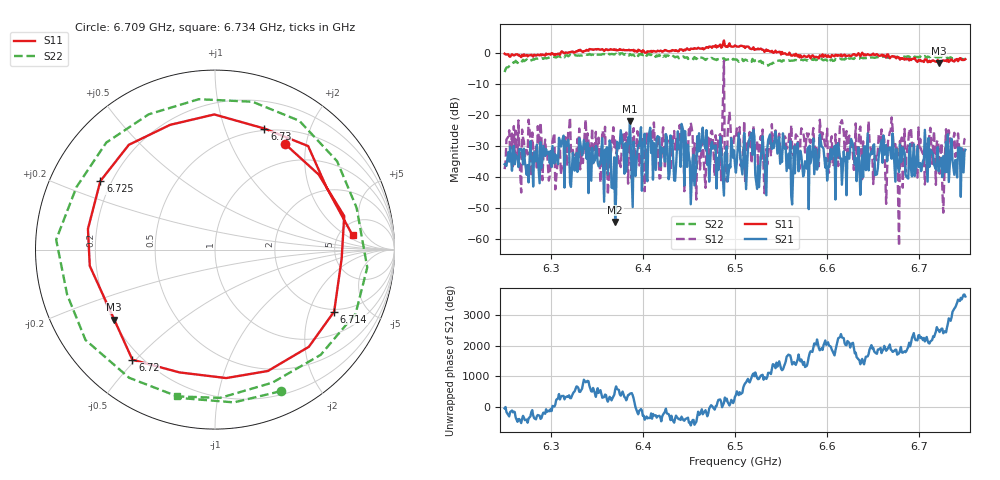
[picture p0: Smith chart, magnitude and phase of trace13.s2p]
# Hz S RI R 50
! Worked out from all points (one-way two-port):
!   401 points, 6.25 GHz to 6.75 GHz, reference 50 ohm
!   highest |S21| = -22.02 dB at 6.386 GHz (marker M1); lowest = -54.5 dB at 6.37 GHz (marker M2)
!   lowest |S11| = -3.3 dB at 6.721 GHz (marker M3), VSWR 5.32, Z = 10.3 - j15 ohm
!   |S11| at or under -10 dB: nowhere
!   |S22| runs from -6.2 to -0.1 dB; largest |S21 - S12| = 0.73
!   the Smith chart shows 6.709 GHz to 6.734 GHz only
!   S11 on the Smith chart (normalised r, x): 6.709 GHz: 0.69, +1.63; 6.714 GHz: 1.90, -2.98; 6.72 GHz: 0.16, -0.49; 6.725 GHz: 0.16, +0.27; 6.73 GHz: 0.48, +1.38; 6.734 GHz: 6.66, +2.62
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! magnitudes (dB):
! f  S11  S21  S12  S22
! 6.25 GHz  -0.3  -35.9  -37.5  -6.2
! 6.334 GHz  0.4  -33.0  -31.2  -0.9
! 6.37 GHz  0.8  -54.5  -27.5  -0.4
! 6.375 GHz  1.2  -29.4  -34.5  -0.6
! 6.386 GHz  0.8  -22.0  -29.8  -0.4
! 6.41 GHz  0.3  -28.3  -27.7  -0.9
! 6.418 GHz  0.5  -27.3  -40.5  -0.7
! 6.5 GHz  2.4  -36.3  -26.7  -2.2
! 6.534 GHz  1.1  -45.9  -31.0  -4.0
! 6.584 GHz  -0.8  -31.5  -27.0  -2.1
! 6.651 GHz  -0.7  -29.5  -34.8  -1.6
! 6.668 GHz  -1.8  -30.5  -25.6  -1.3
! 6.68 GHz  -1.7  -35.3  -34.0  -1.3
! 6.69 GHz  -2.1  -29.3  -26.3  -1.5
! 6.709 GHz  -3.0  -41.5  -29.1  -1.2
! 6.714 GHz  -2.5  -32.3  -35.8  -1.1
! 6.72 GHz  -2.3  -30.4  -28.2  -1.5
! 6.721 GHz  -3.3  -38.2  -30.6  -1.5
! 6.725 GHz  -2.6  -40.1  -44.2  -1.5
! 6.73 GHz  -2.8  -38.5  -31.4  -1.6
! 6.734 GHz  -2.3  -31.2  -28.8  -1.5
! 6.75 GHz  -2.1  -31.3  -27.7  -2.4
